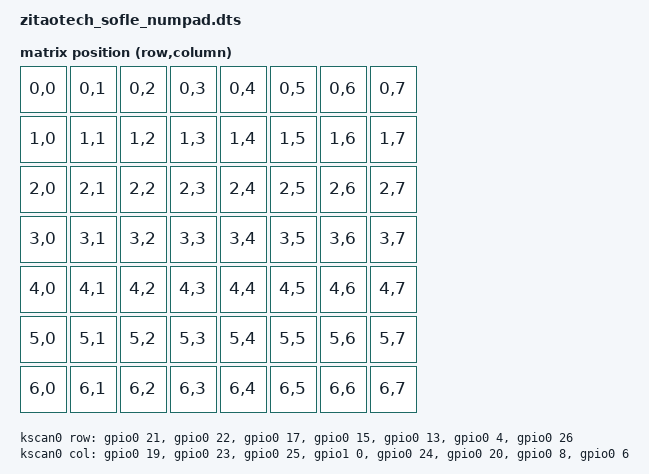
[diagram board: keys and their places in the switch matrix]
/*
 *
 * Copyright (c) 2025 ZitaoTech
 * SPDX-License-Identifier: MIT
 *
 * Numpad variant — standalone keyboard using left PCB
 *
 */

#include "zitaotech_sofle.dtsi"

/ {
    chosen {
        zmk,physical-layouts = &numpad_layout;
        zmk,backlight = &backlight;
        zmk,battery = &vbatt;
        zmk,keyboard_backlight = &keyboard_backlight;
        zmk,underglow = &led_strip;
    };
    kscan0: kscan {
        compatible = "zmk,kscan-gpio-matrix";
        diode-direction = "col2row";
        wakeup-source;
        row-gpios
            = <&gpio0 21 (GPIO_ACTIVE_HIGH | GPIO_PULL_DOWN)>
            , <&gpio0 22  (GPIO_ACTIVE_HIGH | GPIO_PULL_DOWN)>
            , <&gpio0 17 (GPIO_ACTIVE_HIGH | GPIO_PULL_DOWN)>
            , <&gpio0 15  (GPIO_ACTIVE_HIGH | GPIO_PULL_DOWN)>
            , <&gpio0 13  (GPIO_ACTIVE_HIGH | GPIO_PULL_DOWN)>
            , <&gpio0 4  (GPIO_ACTIVE_HIGH | GPIO_PULL_DOWN)>
            , <&gpio0 26  (GPIO_ACTIVE_HIGH | GPIO_PULL_DOWN)>
            ;
        col-gpios
            = <&gpio0 19  GPIO_ACTIVE_HIGH>
            , <&gpio0 23  GPIO_ACTIVE_HIGH>
            , <&gpio0 25  GPIO_ACTIVE_HIGH>
            , <&gpio1 0 GPIO_ACTIVE_HIGH>
            , <&gpio0 24 GPIO_ACTIVE_HIGH>
            , <&gpio0 20 GPIO_ACTIVE_HIGH>
            , <&gpio0 8 GPIO_ACTIVE_HIGH>
            , <&gpio0 6 GPIO_ACTIVE_HIGH>
            ;
    };

    keyboard_backlight: pwmledfo{
        compatible = "pwm-leds";
        pwm_led_0 {
            pwms = <&pwm0 0 PWM_USEC(2000) PWM_POLARITY_NORMAL>;
        };
    };

    trackball_led: pwmledo{
        compatible = "pwm-leds";
        pwm_led_0 {
            pwms = <&pwm1 0 PWM_USEC(20) PWM_POLARITY_NORMAL>;
        };
    };

    backlight: pwmleds {
        compatible = "pwm-leds";
        pwm_led_0 {
            pwms = <&pwm2 0 PWM_MSEC(10) PWM_POLARITY_NORMAL>;
        };
    };
    EXT_POWER {
        compatible = "zmk,ext-power-generic";
        control-gpios = <&gpio0 30 GPIO_ACTIVE_LOW>;
    };
    vbatt: vbatt {
        compatible = "zmk,battery-voltage-divider";
        io-channels = <&adc 0>;
        output-ohms = <2000000>;
        full-ohms = <2820000>;
    };

    // Numpad layout: 7 rows × 8 cols direct mapping
    numpad_layout: numpad_layout {
        compatible = "zmk,physical-layout";
        display-name = "NUMPAD";
        kscan = <&kscan0>;
        transform = <&numpad_transform>;
        keys
            = <&key_physical_attrs 100 100 0 0     0 0 0>
            , <&key_physical_attrs 100 100 100 0     0 0 0>
            , <&key_physical_attrs 100 100 200 0     0 0 0>
            , <&key_physical_attrs 100 100 300 0     0 0 0>
            , <&key_physical_attrs 100 100 400 0     0 0 0>
            , <&key_physical_attrs 100 100 500 0     0 0 0>
            , <&key_physical_attrs 100 100 600 0     0 0 0>
            , <&key_physical_attrs 100 100 700 0     0 0 0>
            , <&key_physical_attrs 100 100 0 100     0 0 0>
            , <&key_physical_attrs 100 100 100 100     0 0 0>
            , <&key_physical_attrs 100 100 200 100     0 0 0>
            , <&key_physical_attrs 100 100 300 100     0 0 0>
            , <&key_physical_attrs 100 100 400 100     0 0 0>
            , <&key_physical_attrs 100 100 500 100     0 0 0>
            , <&key_physical_attrs 100 100 600 100     0 0 0>
            , <&key_physical_attrs 100 100 700 100     0 0 0>
            , <&key_physical_attrs 100 100 0 200     0 0 0>
            , <&key_physical_attrs 100 100 100 200     0 0 0>
            , <&key_physical_attrs 100 100 200 200     0 0 0>
            , <&key_physical_attrs 100 100 300 200     0 0 0>
            , <&key_physical_attrs 100 100 400 200     0 0 0>
            , <&key_physical_attrs 100 100 500 200     0 0 0>
            , <&key_physical_attrs 100 100 600 200     0 0 0>
            , <&key_physical_attrs 100 100 700 200     0 0 0>
            , <&key_physical_attrs 100 100 0 300     0 0 0>
            , <&key_physical_attrs 100 100 100 300     0 0 0>
            , <&key_physical_attrs 100 100 200 300     0 0 0>
            , <&key_physical_attrs 100 100 300 300     0 0 0>
            , <&key_physical_attrs 100 100 400 300     0 0 0>
            , <&key_physical_attrs 100 100 500 300     0 0 0>
            , <&key_physical_attrs 100 100 600 300     0 0 0>
            , <&key_physical_attrs 100 100 700 300     0 0 0>
            , <&key_physical_attrs 100 100 0 400     0 0 0>
            , <&key_physical_attrs 100 100 100 400     0 0 0>
            , <&key_physical_attrs 100 100 200 400     0 0 0>
            , <&key_physical_attrs 100 100 300 400     0 0 0>
            , <&key_physical_attrs 100 100 400 400     0 0 0>
            , <&key_physical_attrs 100 100 500 400     0 0 0>
            , <&key_physical_attrs 100 100 600 400     0 0 0>
            , <&key_physical_attrs 100 100 700 400     0 0 0>
            , <&key_physical_attrs 100 100 0 500     0 0 0>
            , <&key_physical_attrs 100 100 100 500     0 0 0>
            , <&key_physical_attrs 100 100 200 500     0 0 0>
            , <&key_physical_attrs 100 100 300 500     0 0 0>
            , <&key_physical_attrs 100 100 400 500     0 0 0>
            , <&key_physical_attrs 100 100 500 500     0 0 0>
            , <&key_physical_attrs 100 100 600 500     0 0 0>
            , <&key_physical_attrs 100 100 700 500     0 0 0>
            , <&key_physical_attrs 100 100 0 600     0 0 0>
            , <&key_physical_attrs 100 100 100 600     0 0 0>
            , <&key_physical_attrs 100 100 200 600     0 0 0>
            , <&key_physical_attrs 100 100 300 600     0 0 0>
            , <&key_physical_attrs 100 100 400 600     0 0 0>
            , <&key_physical_attrs 100 100 500 600     0 0 0>
            , <&key_physical_attrs 100 100 600 600     0 0 0>
            , <&key_physical_attrs 100 100 700 600     0 0 0>;
    };

    numpad_transform: numpad_transform {
        compatible = "zmk,matrix-transform";
        columns = <8>;
        rows = <7>;
        map = <
RC(0,0) RC(0,1) RC(0,2) RC(0,3) RC(0,4) RC(0,5) RC(0,6) RC(0,7)
RC(1,0) RC(1,1) RC(1,2) RC(1,3) RC(1,4) RC(1,5) RC(1,6) RC(1,7)
RC(2,0) RC(2,1) RC(2,2) RC(2,3) RC(2,4) RC(2,5) RC(2,6) RC(2,7)
RC(3,0) RC(3,1) RC(3,2) RC(3,3) RC(3,4) RC(3,5) RC(3,6) RC(3,7)
RC(4,0) RC(4,1) RC(4,2) RC(4,3) RC(4,4) RC(4,5) RC(4,6) RC(4,7)
RC(5,0) RC(5,1) RC(5,2) RC(5,3) RC(5,4) RC(5,5) RC(5,6) RC(5,7)
RC(6,0) RC(6,1) RC(6,2) RC(6,3) RC(6,4) RC(6,5) RC(6,6) RC(6,7)
        >;
    };
};

&adc {
    status = "okay";
};

&gpiote {
    status = "okay";
};

&gpio0 {
    status = "okay";
};

&gpio1 {
    status = "okay";
};

&spi2 {
    status = "okay";
};

&pwm0 {
    status = "okay";
    pinctrl-0 = <&pwm0_default>;
    pinctrl-1 = <&pwm0_sleep>;
    pinctrl-names = "default", "sleep";
};

&pwm1 {
    status = "okay";
    pinctrl-0 = <&pwm1_default>;
    pinctrl-1 = <&pwm1_sleep>;
    pinctrl-names = "default", "sleep";
};

&pwm2 {
    status = "okay";
    pinctrl-0 = <&pwm2_default>;
    pinctrl-1 = <&pwm2_sleep>;
    pinctrl-names = "default", "sleep";
};

&left_encoder {
    status = "okay";
};

lpm_view_spi: &spi2 {
    compatible = "nordic,nrf-spim";
    pinctrl-0 = <&spi2_default>;
    pinctrl-1 = <&spi2_sleep>;
    pinctrl-names = "default", "sleep";
    cs-gpios = <&gpio1 8 (GPIO_ACTIVE_HIGH | GPIO_PULL_DOWN) >;
};

&spi3 {
    compatible = "nordic,nrf-spim";
    status = "okay";

    pinctrl-0 = <&spi3_default>;
    pinctrl-1 = <&spi3_sleep>;
    pinctrl-names = "default", "sleep";

    led_strip: ws2812@0 {
        compatible = "worldsemi,ws2812-spi";
        reg = <0>;
        spi-max-frequency = <400000>;
        chain-length = <1>;
        spi-one-frame = <0x70>;
        spi-zero-frame = <0x40>;
        color-mapping = <LED_COLOR_ID_GREEN
                         LED_COLOR_ID_RED
                         LED_COLOR_ID_BLUE>;
    };
};

&pinctrl {
    pwm0_default:pwm0_default{
        group1{
            psels = <NRF_PSEL(PWM_OUT0, 1, 10)>;
        };
    };
    pwm0_sleep: pwm0_sleep {
        group1 {
            psels = <NRF_PSEL(PWM_OUT0, 1, 10)>;
            bias-pull-down;
        };
    };
    pwm1_default:pwm1_default{
        group1{
            psels = <NRF_PSEL(PWM_OUT0, 0, 7)>;
        };
    };
    pwm1_sleep: pwm1_sleep {
        group1 {
            psels = <NRF_PSEL(PWM_OUT0, 0, 7)>;
            bias-pull-down;
        };
    };
   pwm2_default: pwm2_default {
        group1 {
            psels = <NRF_PSEL(PWM_OUT0, 0, 9)>;
        };
    };
    pwm2_sleep: pwm2_sleep {
        group1 {
            psels = <NRF_PSEL(PWM_OUT0, 0, 9)>;
            bias-pull-down;
        };
    };
    spi2_default: spi2_default {
        group1 {
            psels = <NRF_PSEL(SPIM_MOSI, 0, 14)>,
            <NRF_PSEL(SPIM_SCK, 0, 11)>;
        };
    };
    spi2_sleep: spi2_sleep {
        group1 {
            psels = <NRF_PSEL(SPIM_MOSI, 0, 14)>,
            <NRF_PSEL(SPIM_SCK, 0, 11)>;
            low-power-enable;
        };
    };
    spi3_default: spi3_default {
        group1 {
            psels = <NRF_PSEL(SPIM_MOSI, 0, 10)>;
        };
    };
    spi3_sleep: spi3_sleep {
        group1 {
            psels = <NRF_PSEL(SPIM_MOSI, 0, 10)>;
            low-power-enable;
        };
    };
};
